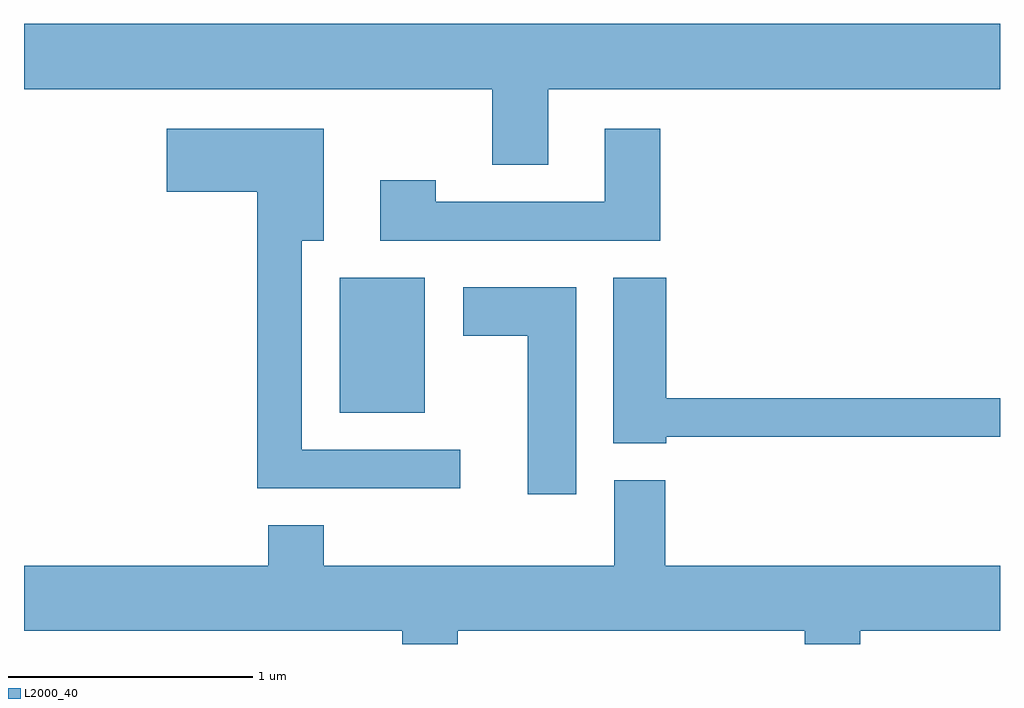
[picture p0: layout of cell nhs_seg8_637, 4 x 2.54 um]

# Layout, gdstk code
import gdstk
lib = gdstk.Library(unit=1e-6, precision=1e-09)
def R(c, l, rs):  # rectangles x0, y0, x1, y1
    for r in rs: c.add(gdstk.rectangle(r[:2], r[2:], *l))
def P(c, l, *ps):  # polygons
    for p in ps: c.add(gdstk.Polygon(p, *l))
L2000_40 = (2000, 40)

nhs_seg8_637 = lib.new_cell('nhs_seg8_637')
R(nhs_seg8_637, L2000_40, [(204.906,1857.291,205.254,1857.844)])
P(nhs_seg8_637, L2000_40, [(205.759,1858.616),(207.611,1858.616),(207.611,1858.884),(203.611,1858.884),(203.611,1858.616),(205.531,1858.616),(205.531,1858.306),(205.759,1858.306)],
  [(205.398,1857.139),(204.749,1857.139),(204.749,1857.996),(204.839,1857.996),(204.839,1858.454),(204.196,1858.454),(204.196,1858.196),(204.566,1858.196),(204.566,1856.981),(205.398,1856.981)],
  [(206.219,1858.454),(205.991,1858.454),(205.991,1858.154),(205.299,1858.154),(205.299,1858.244),(205.071,1858.244),(205.071,1857.996),(206.219,1857.996)],
  [(206.244,1857.191),(207.611,1857.191),(207.611,1857.349),(206.244,1857.349),(206.244,1857.844),(206.026,1857.844),(206.026,1857.166),(206.244,1857.166)],
  [(205.874,1857.804),(205.411,1857.804),(205.411,1857.606),(205.676,1857.606),(205.676,1856.956),(205.874,1856.956)],
  [(205.389,1856.396),(206.811,1856.396),(206.811,1856.342),(207.039,1856.342),(207.039,1856.396),(207.611,1856.396),(207.611,1856.664),(206.239,1856.664),(206.239,1857.014),(206.031,1857.014),(206.031,1856.664),(204.839,1856.664),(204.839,1856.829),(204.611,1856.829),(204.611,1856.664),(203.611,1856.664),(203.611,1856.396),(205.161,1856.396),(205.161,1856.342),(205.389,1856.342)])

lib.write_gds('nhs_seg8_637.gds')
